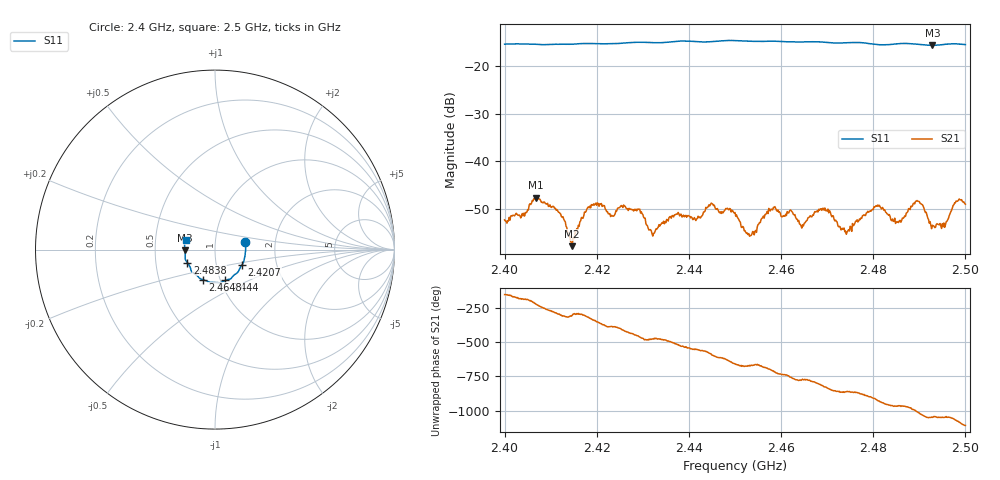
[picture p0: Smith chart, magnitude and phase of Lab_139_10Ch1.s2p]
# Hz S RI R 50
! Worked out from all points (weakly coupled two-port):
!   601 points, 2.4 GHz to 2.5 GHz, reference 50 ohm
!   highest |S21| = -47.71 dB at 2.4068 GHz (marker M1); lowest = -57.9 dB at 2.4147 GHz (marker M2)
!   lowest |S11| = -15.6 dB at 2.4928 GHz (marker M3), VSWR 1.40, Z = 35.7 - j0.299 ohm
!   |S11| at or under -10 dB: start of sweep to end of sweep
!   S12 and S22 are empty: the file has one direction only
!   S11 on the Smith chart (normalised r, x): 2.4 GHz: 1.39, +0.12; 2.4207 GHz: 1.33, -0.24; 2.444 GHz: 1.05, -0.37; 2.4648 GHz: 0.83, -0.29; 2.4838 GHz: 0.73, -0.11; 2.5 GHz: 0.72, +0.08
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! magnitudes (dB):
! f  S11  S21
! 2.4 GHz  -15.3  -52.4
! 2.4068 GHz  -15.4  -47.7
! 2.4117 GHz  -15.4  -50.7
! 2.4147 GHz  -15.3  -57.9
! 2.4167 GHz  -15.2  -51.9
! 2.4207 GHz  -15.2  -49.0
! 2.4288 GHz  -14.9  -50.1
! 2.4333 GHz  -15.0  -53.9
! 2.444 GHz  -14.9  -49.8
! 2.45 GHz  -14.6  -50.8
! 2.453 GHz  -14.7  -55.3
! 2.4583 GHz  -14.7  -49.7
! 2.4648 GHz  -14.9  -53.7
! 2.4667 GHz  -14.8  -51.7
! 2.47 GHz  -15.0  -50.5
! 2.4743 GHz  -15.0  -54.9
! 2.4807 GHz  -15.4  -49.4
! 2.4833 GHz  -15.4  -51.4
! 2.4838 GHz  -15.4  -52.4
! 2.4897 GHz  -15.3  -48.4
! 2.4928 GHz  -15.6  -53.5
! 2.5 GHz  -15.4  -49.1
